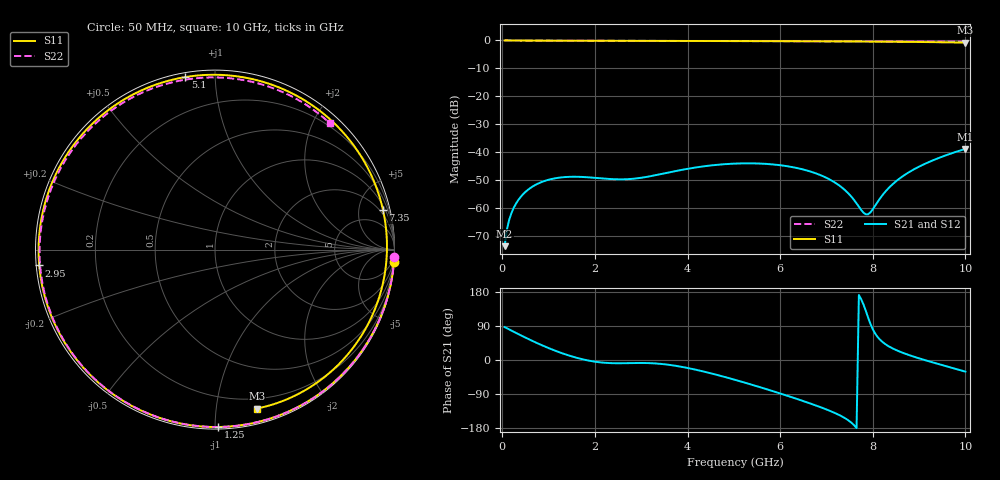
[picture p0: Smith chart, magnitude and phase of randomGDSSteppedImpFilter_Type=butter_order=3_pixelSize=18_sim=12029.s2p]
! freq	dB(S11)	phase(S11)	dB(S12)	phase(S12)
!  dB(S21)	phase(S21)	dB(S22)	phase(S22)
!S-par simulation data
#  GHz  S  DB  R 50
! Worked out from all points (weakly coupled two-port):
!   200 points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, 50 MHz to 10 GHz, reference 50 ohm
!   highest |S21| = -38.74 dB at 10 GHz (marker M1); lowest = -73.5 dB at 50 MHz (marker M2)
!   lowest |S11| = -0.8 dB at 10 GHz (marker M3), VSWR 22.76, Z = 5.88 - j64.6 ohm
!   |S11| at or under -10 dB: nowhere
!   |S22| runs from -0.4 to 0.0 dB; largest |S21 - S12| = 0
!   S11 on the Smith chart (normalised r, x): 50 MHz: 0, -29; 1.25 GHz: 0.01, -1.02; 2.95 GHz: 0.01, -0.05; 5.1 GHz: 0.02, +0.84; 7.35 GHz: 1.45, +8.42; 10 GHz: 0.12, -1.29
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0.05  -0.00 -3.9  -73.51 86.8  -73.51 86.8  -0.00 -2.5
0.1  -0.01 -7.8  -67.52 83.6  -67.52 83.6  -0.01 -5.0
0.15  -0.02 -11.6  -64.03 80.5  -64.03 80.5  -0.01 -7.4
0.25  -0.03 -19.2  -59.69 74.3  -59.69 74.3  -0.02 -12.3
0.4  -0.05 -30.5  -55.85 65.1  -55.85 65.1  -0.03 -19.6
0.85  -0.08 -62.9  -50.58 39.2  -50.58 39.2  -0.05 -41.0
1.25  -0.10 -89.0  -48.98 19.6  -48.98 19.6  -0.07 -59.1
1.75  -0.12 -117.9  -48.79 1.4  -48.79 1.4  -0.09 -80.2
2.35  -0.13 -148.1  -49.53 -8.3  -49.53 -8.3  -0.11 -103.1
2.95  -0.15 -174.8  -49.19 -7.8  -49.19 -7.8  -0.13 -123.6
3.4  -0.16 166.5  -47.84 -10.0  -47.84 -10.0  -0.14 -137.7
4.3  -0.19 130.9  -45.09 -29.0  -45.09 -29.0  -0.17 -163.5
5.05  -0.21 101.7  -43.99 -53.1  -43.99 -53.1  -0.20 176.6
5.1  -0.22 99.8  -43.96 -54.9  -43.96 -54.9  -0.20 175.3
5.85  -0.25 70.6  -44.31 -82.5  -44.31 -82.5  -0.24 156.2
6.7  -0.29 37.7  -47.09 -116.9  -47.09 -116.9  -0.28 134.8
7.35  -0.34 13.2  -52.78 -150.0  -52.78 -150.0  -0.31 118.2
7.85  -0.39 -5.1  -62.15 129.6  -62.15 129.6  -0.33 105.3
7.95  -0.40 -8.6  -61.42 95.2  -61.42 95.2  -0.34 102.7
8.35  -0.45 -22.6  -52.63 35.7  -52.63 35.7  -0.36 92.1
9  -0.55 -44.2  -45.09 4.3  -45.09 4.3  -0.38 74.8
10  -0.76 -75.2  -38.74 -30.7  -38.74 -30.7  -0.43 47.6
